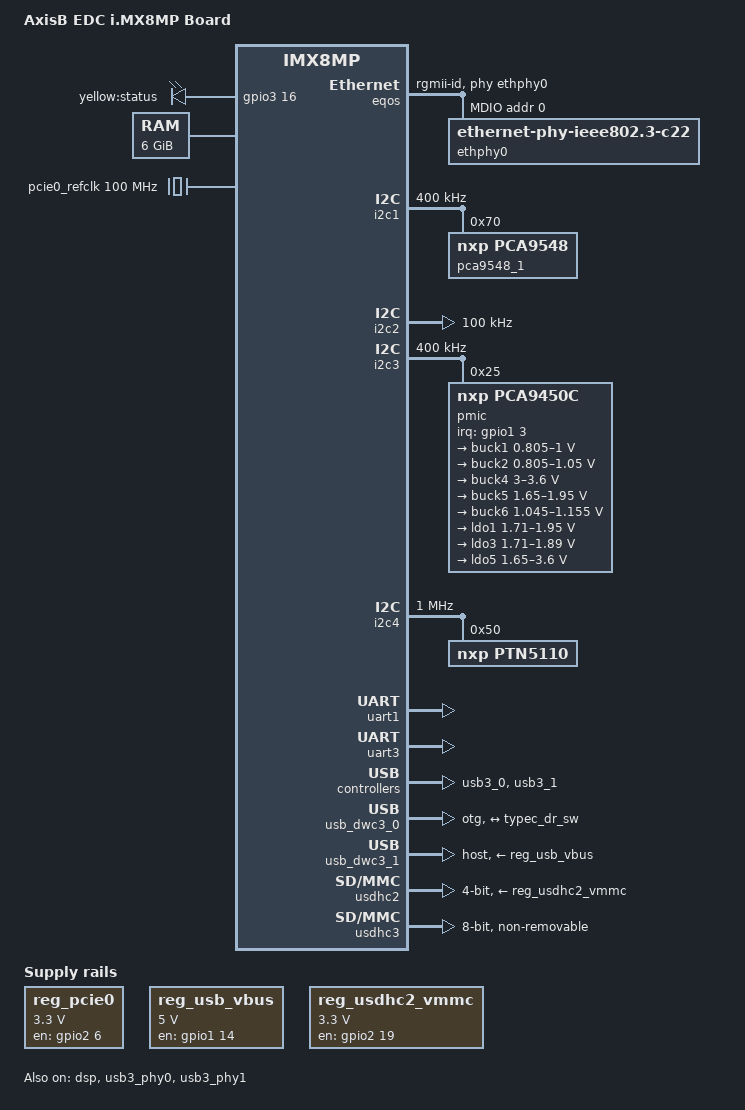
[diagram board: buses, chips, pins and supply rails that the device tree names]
/dts-v1/;

#include <dt-bindings/phy/phy-imx8-pcie.h>
#include <dt-bindings/usb/pd.h>
#include "imx8mp.dtsi"
#include "imx8mp-edc-brd01-pinmux.dtsi"        

/ {

  model = "AxisB EDC i.MX8MP Board";
  compatible = "axisb,imx8mp-edc-brd01", "fsl,imx8mp";

  chosen {
    stdout-path = &uart1;
  };

  gpio-leds {
    compatible = "gpio-leds";
    pinctrl-names = "default";
    pinctrl-0 = <&BOARD_InitPins>;

    status {
      label = "yellow:status";
      gpios = <&gpio3 16 GPIO_ACTIVE_HIGH>;
      default-state = "on";
    };
  }

  memory@40000000 {
    device_type = "memory";
    reg = <0x0 0x40000000 0 0xc0000000>,
      <0x1 0x00000000 0 0xc0000000>;
  };

  pcie0_refclk: pcie0-refclk {
    compatible = "fixed-clock";
    #clock-cells = <0>;
    clock-frequency = <100000000>;
  };

  reg_pcie0: regulator-pcie {
    compatible = "regulator-fixed";
    pinctrl-names = "default";
    pinctrl-0 = <&BOARD_InitPins>;
    regulator-name = "MPCIE_3V3";
    regulator-min-microvolt = <3300000>;
    regulator-max-microvolt = <3300000>;
    gpio = <&gpio2 6 GPIO_ACTIVE_HIGH>;
    enable-active-high;
    regulator-always-on;
  };

  reg_usb_vbus: regulator-vbus {
    compatible = "regulator-fixed";
    pinctrl-names = "default";
    pinctrl-0 = <&BOARD_InitPins>;
    regulator-name = "USB_VBUS";
    regulator-min-microvolt = <5000000>;
    regulator-max-microvolt = <5000000>;
    gpio = <&gpio1 14 GPIO_ACTIVE_HIGH>;
    enable-active-high;
    regulator-always-on;
  };

  reg_usdhc2_vmmc: regulator-usdhc2 {
    compatible = "regulator-fixed";
    pinctrl-names = "default";
    pinctrl-0 = <&BOARD_InitPins>;
    regulator-name = "VSD_3V3";
    regulator-min-microvolt = <3300000>;
    regulator-max-microvolt = <3300000>;
    gpio = <&gpio2 19 GPIO_ACTIVE_HIGH>;
    enable-active-high;
  };
};

/* Use the BOARD_InitPins group already defined in the .dtsi */
&iomuxc {
  pinctrl-names = "default";
  pinctrl-0 = <&BOARD_InitPins>;
};

&dsp {
	status = "okay";
};

&eqos {
  pinctrl-names = "default";
  pinctrl-0 = <&BOARD_InitPins>;
  phy-mode = "rgmii-id";
  phy-handle = <&ethphy0>;
	snps,mtl-tx-config = <&mtl_tx_setup>;
	snps,mtl-rx-config = <&mtl_rx_setup>;
  status = "okay";

  mdio {
    compatible = "snps,dwmac-mdio";
    #address-cells = <1>;
    #size-cells = <0>;

    /* Realtek RTL8211F (0x001cc916) */
    ethphy0: ethernet-phy@1 {
      compatible = "ethernet-phy-ieee802.3-c22";
      reg = <0>;
      max-speed = <1000>;
      // Ask praveen
      eee-broken-1000t;
      realtek,clkout-disable;
    };
  };

  mtl_tx_setup: tx-queues-config {
    snps,tx-queues-to-use = <4>;
    snps,tx-sched-sp;

    queue0 {
      snps,dcb-algorithm;
      snps,priority = <0x1>;
    };

    queue1 {
      snps,dcb-algorithm;
      snps,priority = <0x2>;
    };

    queue2 {
      snps,dcb-algorithm;
      snps,priority = <0x4>;
    };

    queue3 {
      snps,dcb-algorithm;
      snps,priority = <0x8>;
    };

    /* queue4 { */
    /* 	snps,dcb-algorithm; */
    /* 	snps,priority = <0xf0>; */
    /* }; */
  };

  mtl_rx_setup: rx-queues-config {
    snps,rx-queues-to-use = <4>;
    snps,rx-sched-sp;

    queue0 {
      snps,dcb-algorithm;
      snps,priority = <0x1>;
      snps,map-to-dma-channel = <0>;
    };

    queue1 {
      snps,dcb-algorithm;
      snps,priority = <0x2>;
      snps,map-to-dma-channel = <1>;
    };

    queue2 {
      snps,dcb-algorithm;
      snps,priority = <0x4>;
      snps,map-to-dma-channel = <2>;
    };

    queue3 {
      snps,dcb-algorithm;
      snps,priority = <0x8>;
      snps,map-to-dma-channel = <3>;
    };
  };
};

// TODO: Need to add AD2437 dts node
&i2c1 {
  clock-frequency = <400000>;
  pinctrl-names = "default";
  pinctrl-0 = <&BOARD_InitPins>;
  status = "okay";


  pca9548_1: i2c-mux@70 {
    compatible = "nxp,pca9548";
    #address-cells = <1>;
    #size-cells = <0>;
    reg = <0x70>;

    i2c@0 {
      #address-cells = <1>;
      #size-cells = <0>;
      reg = <0x0>;

      // Add code for AD2437 U6
    };

    i2c@1 {
      #address-cells = <1>;
      #size-cells = <0>;
      reg = <0x1>;

      // Add code for AD2437 U7
    };

    i2c@2 {
      #address-cells = <1>;
      #size-cells = <0>;
      reg = <0x2>;

      // Add code for AD2437 U8
    };

    i2c@3 {
      #address-cells = <1>;
      #size-cells = <0>;
      reg = <0x3>;

      // Add code for AD2437 U9
    };

    i2c@4 {
      #address-cells = <1>;
      #size-cells = <0>;
      reg = <0x4>;

      // Add code for AD2437 U10
    };

    i2c@5 {
      #address-cells = <1>;
      #size-cells = <0>;
      reg = <0x5>;

      // Add code for AD2437 U11
    };

    i2c@6 {
      #address-cells = <1>;
      #size-cells = <0>;
      reg = <0x6>;

      // Add code for AD2437 U12
    };

    i2c@7 {
      #address-cells = <1>;
      #size-cells = <0>;
      reg = <0x6>;

      // Add code for AD2437 U13
    };
  };
};

&i2c2 {
  clock-frequency = <100000>;
  pinctrl-names = "default";
  pinctrl-0 = <&BOARD_InitPins>;
  status = "okay";

  // Add code for AD2437 U14
};

&i2c3 {
  clock-frequency = <400000>;
  pinctrl-names = "default";
  pinctrl-0 = <&BOARD_InitPins>;
  status = "okay";

  // TODO: Check voltage values
  pmic@25 {
    compatible = "nxp,pca9450c";
    reg = <0x25>;
    pinctrl-names = "default";
    pinctrl-0 = <&BOARD_InitPins>;
    interrupt-parent = <&gpio1>;
    interrupts = <3 IRQ_TYPE_LEVEL_LOW>;

    regulators {
      buck1: BUCK1 {
        regulator-name = "BUCK1";
        regulator-min-microvolt = <805000>;
        regulator-max-microvolt = <1000000>;
        regulator-boot-on;
        regulator-always-on;
        regulator-ramp-delay = <3125>;
      };

      buck2: BUCK2 {
        regulator-name = "BUCK2";
        regulator-min-microvolt = <805000>;
        regulator-max-microvolt = <1050000>;
        regulator-boot-on;
        regulator-always-on;
        regulator-ramp-delay = <3125>;
        nxp,dvs-run-voltage = <1000000>;
        nxp,dvs-standby-voltage = <950000>;
      };

      buck4: BUCK4{
        regulator-name = "BUCK4";
        regulator-min-microvolt = <3000000>;
        regulator-max-microvolt = <3600000>;
        regulator-boot-on;
        regulator-always-on;
      };

      buck5: BUCK5{
        regulator-name = "BUCK5";
        regulator-min-microvolt = <1650000>;
        regulator-max-microvolt = <1950000>;
        regulator-boot-on;
        regulator-always-on;
      };

      buck6: BUCK6 {
        regulator-name = "BUCK6";
        regulator-min-microvolt = <1045000>;
        regulator-max-microvolt = <1155000>;
        regulator-boot-on;
        regulator-always-on;
      };

      ldo1: LDO1 {
        regulator-name = "LDO1";
        regulator-min-microvolt = <1710000>;
        regulator-max-microvolt = <1950000>;
        regulator-boot-on;
        regulator-always-on;
      };

      ldo3: LDO3 {
        regulator-name = "LDO3";
        regulator-min-microvolt = <1710000>;
        regulator-max-microvolt = <1890000>;
        regulator-boot-on;
        regulator-always-on;
      };

      ldo5: LDO5 {
        regulator-name = "LDO5";
        regulator-min-microvolt = <1650000>;
        regulator-max-microvolt = <3600000>;
        regulator-boot-on;
        regulator-always-on;
      };
    };
  };
};

&i2c4{
  clock-frequency = <1000000>;
  pinctrl-names = "default";
  pinctrl-0 = <&BOARD_InitPins>;
  status = "okay";

  ptn5110: tcpc@50 {
    compatible = "nxp,ptn5110";
    reg = <0x50>;

    port {
      usb_con: connector {
        compatible = "usb-c-connector";
        label = "USB-C";
        data-role = "dual";
        power-role = "dual";
        try-power-role = "sink";
        // TODO: Check power settings
        source-pdos = <PDO_FIXED(5000, 2000, PDO_FIXED_USB_COMM)>;
        sink-pdos = <PDO_FIXED(5000, 2000, PDO_FIXED_USB_COMM)
        PDO_VAR(5000, 12000, 2000)>;
        op-sink-microwatt = <10000000>;
      };
    };
  };

  // TODO: Check again before removing
  /* nx20p3483: load-switch@50 { */
  /*   compatible = "nxp,nx20p3483uk"; */
  /*   reg = <0x72>; */
  /* }; */
}

&uart1 {
  pinctrl-names = "default";
  pinctrl-0 = <&BOARD_InitPins>;
  status = "okay";
};

&uart2 {
  pinctrl-names = "default";
  pinctrl-0 = <&BOARD_InitPins>;
  status = "disabled";
};

&uart3 {
  /* Bluetooth */
  pinctrl-names = "default";
  pinctrl-0 = <&BOARD_InitPins>;
  assigned-clocks = <&clk IMX8MP_CLK_UART3>;
  assigned-clock-parents = <&clk IMX8MP_SYS_PLL1_80M>;
  fsl,uart-has-rtscts;
  status = "okay";
  
  // Quectel Bluetooth driver
};

&usb3_phy0 {
	fsl,phy-tx-vref-tune = <0xe>;
	fsl,phy-tx-preemp-amp-tune = <3>;
	fsl,phy-tx-vboost-level = <5>;
	fsl,phy-comp-dis-tune = <7>;
	fsl,pcs-tx-deemph-3p5db = <0x21>;
	fsl,phy-pcs-tx-swing-full = <0x7f>;
	status = "okay";
};

&usb3_0 {
  status = "okay";
};

&usb_dwc3_0 {
  dr_mode = "otg";
  hnp-disable;
  srp-disable;
  adp-disable;
  usb-role-switch;
  role-switch-default-mode = "none";
  snps,dis-u1-entry-quirk;
  snps,dis-u2-entry-quirk;
  status = "okay";

  port {
    usb3_drd_sw: endpoint {
      remote-endpoint = <&typec_dr_sw>;
    };
  };
};

&usb3_phy1 {
  fsl,phy-tx-preemp-amp-tune = <3>;
  fsl,phy-tx-vref-tune = <0xb>;
  status = "okay";
};

&usb3_1 {
  status = "okay";
};

&usb_dwc3_1 {
  vbus-supply = <&reg_usb_vbus>;
  dr_mode = "host";
  status = "okay";
};

&usdhc2 {
  assigned-clocks = <&clk IMX8MP_CLK_USDHC2>;
  assigned-clock-rates = <400000000>;
  pinctrl-names = "default", "state_100mhz", "state_200mhz";
  pinctrl-0 = <&BOARD_InitPins>;
  pinctrl-1 = <&BOARD_InitPins>;
  pinctrl-2 = <&BOARD_InitPins>;
  /* pinctrl-1 = <&pinctrl_usdhc2_100mhz>, <&pinctrl_usdhc2_gpio>; */
  /* pinctrl-2 = <&pinctrl_usdhc2_200mhz>, <&pinctrl_usdhc2_gpio>; */
  vmmc-supply = <&reg_usdhc2_vmmc>;
  bus-width = <4>;
  status = "okay";
};

&usdhc3 {
  assigned-clocks = <&clk IMX8MP_CLK_USDHC3>;
  assigned-clock-rates = <400000000>;
  pinctrl-names = "default", "state_100mhz", "state_200mhz";
  pinctrl-0 = <&BOARD_InitPins>;
  pinctrl-1 = <&pinctrl_usdhc3_100mhz>;
  pinctrl-2 = <&pinctrl_usdhc3_200mhz>;
  bus-width = <8>;
  non-removable;
  status = "okay";
};
